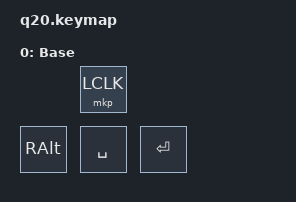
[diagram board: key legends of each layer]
/*
 * Q20 触控板键盘键位。
 *
 * 三枚 Kailh 机械键组成一行三列矩阵，默认键位为右 Option（RALT）、空格、回车，可按需修改。
 * 第 4 位是触控板按压（KEYA/KEYB 是同一个开关的两端），默认作为鼠标左键。
 * 硬件上没有单独的右键，需要右键时可把前三个键之一改成 &mkp RCLK。
 * KEY3 连接 NRST，直接硬件复位 MCU，不在键位表里。
 */

#include <behaviors.dtsi>
#include <dt-bindings/zmk/bt.h>
#include <dt-bindings/zmk/keys.h>
#include <dt-bindings/zmk/pointing.h>

/ {
    combos {
        compatible = "zmk,combos";

        /* RALT + ENTER：清除当前蓝牙 profile 的配对信息。 */
        bt_clear {
            timeout-ms = <400>;
            key-positions = <0 2>;
            bindings = <&bt BT_CLR>;
        };
    };

    keymap {
        compatible = "zmk,keymap";

        default_layer {
            display-name = "Base";
            bindings = <
                &kp RALT   &kp SPACE  &kp ENTER  &mkp LCLK
            >;
        };

        extra1 { status = "reserved"; };
        extra2 { status = "reserved"; };
        extra3 { status = "reserved"; };
    };
};
